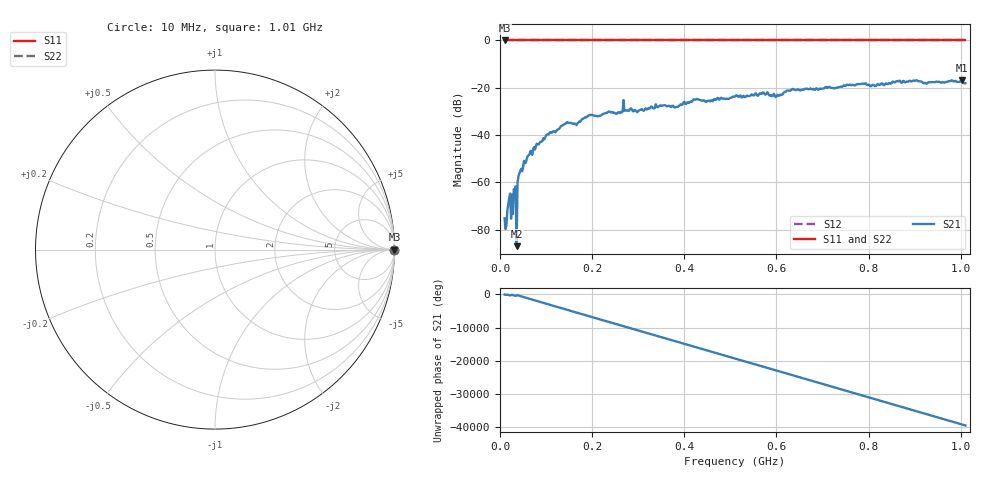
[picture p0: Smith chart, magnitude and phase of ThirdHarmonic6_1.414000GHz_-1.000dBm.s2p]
! 8/16/2025 4:13:50 PM
! C:\ANRITSUVNA\TEMP\TEMP.S2P
! CHANNEL.1
! TR.MEASUREMENT
! RAW.DATA
! RF.CORRECTION.OFF
! AVERAGING.OFF
! IF.BANDWIDTH: 5KHZ
! SWEEPTYPE:  FREQ.SWEEP(Linear)
! Reference Plane Port Info
! PORT:  PORT1  PORT2
! DISTANCE:  0  m  0  m
! TIME:  0  s  0  s
! PHASE.OFFSET:  0  deg.  0  deg.
! LOSS:  0  dB  0  dB
! REF.LOSS:  0  dB  0  dB
! REF.FREQ:  0  Hz  0  Hz
! Power Info
! POWER:  -20  dBm  -20  dBm
! EFF.POWER:  -20  dBm  -20  dBm
! SOURCE.ATTEN:  0  dB  0  dB
! TEST.ATTEN:  0  dB  0  dB
# GHZ S RI R 50.0
! FREQ.GHZ  S11RE  S11IM  S21RE  S21IM  S12RE  S12IM  S22RE  S22IM
!; PortSelection: Port_12
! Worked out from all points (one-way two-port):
!   501 points, 10 MHz to 1.01 GHz, reference 50 ohm
!   highest |S21| = -16.76 dB at 1.002 GHz (marker M1); lowest = -87.0 dB at 36 MHz (marker M2)
!   lowest |S11| = 0.0 dB at 10 MHz (marker M3)
!   |S11| at or under -10 dB: nowhere
!   |S22| runs from 0.0 to 0.0 dB; largest |S21 - S12| = 1.1
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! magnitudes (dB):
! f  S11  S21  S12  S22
! 10 MHz  0.0  -75.3  0.0  0.0
! 22 MHz  0.0  -64.8  0.0  0.0
! 28 MHz  0.0  -73.5  0.0  0.0
! 30 MHz  0.0  -62.9  0.0  0.0
! 32 MHz  0.0  -63.9  0.0  0.0
! 36 MHz  0.0  -87.0  0.0  0.0
! 40 MHz  0.0  -57.6  0.0  0.0
! 42 MHz  0.0  -56.2  0.0  0.0
! 62 MHz  0.0  -48.6  0.0  0.0
! 76 MHz  0.0  -46.2  0.0  0.0
! 142 MHz  0.0  -35.3  0.0  0.0
! 178 MHz  0.0  -33.3  0.0  0.0
! 272 MHz  0.0  -29.7  0.0  0.0
! 298 MHz  0.0  -30.3  0.0  0.0
! 344 MHz  0.0  -27.9  0.0  0.0
! 510 MHz  0.0  -23.7  0.0  0.0
! 602 MHz  0.0  -23.0  0.0  0.0
! 636 MHz  0.0  -20.5  0.0  0.0
! 678 MHz  0.0  -20.7  0.0  0.0
! 844 MHz  0.0  -18.1  0.0  0.0
! 1.002 GHz  0.0  -16.8  0.0  0.0
! 1.01 GHz  0.0  -18.1  0.0  0.0
